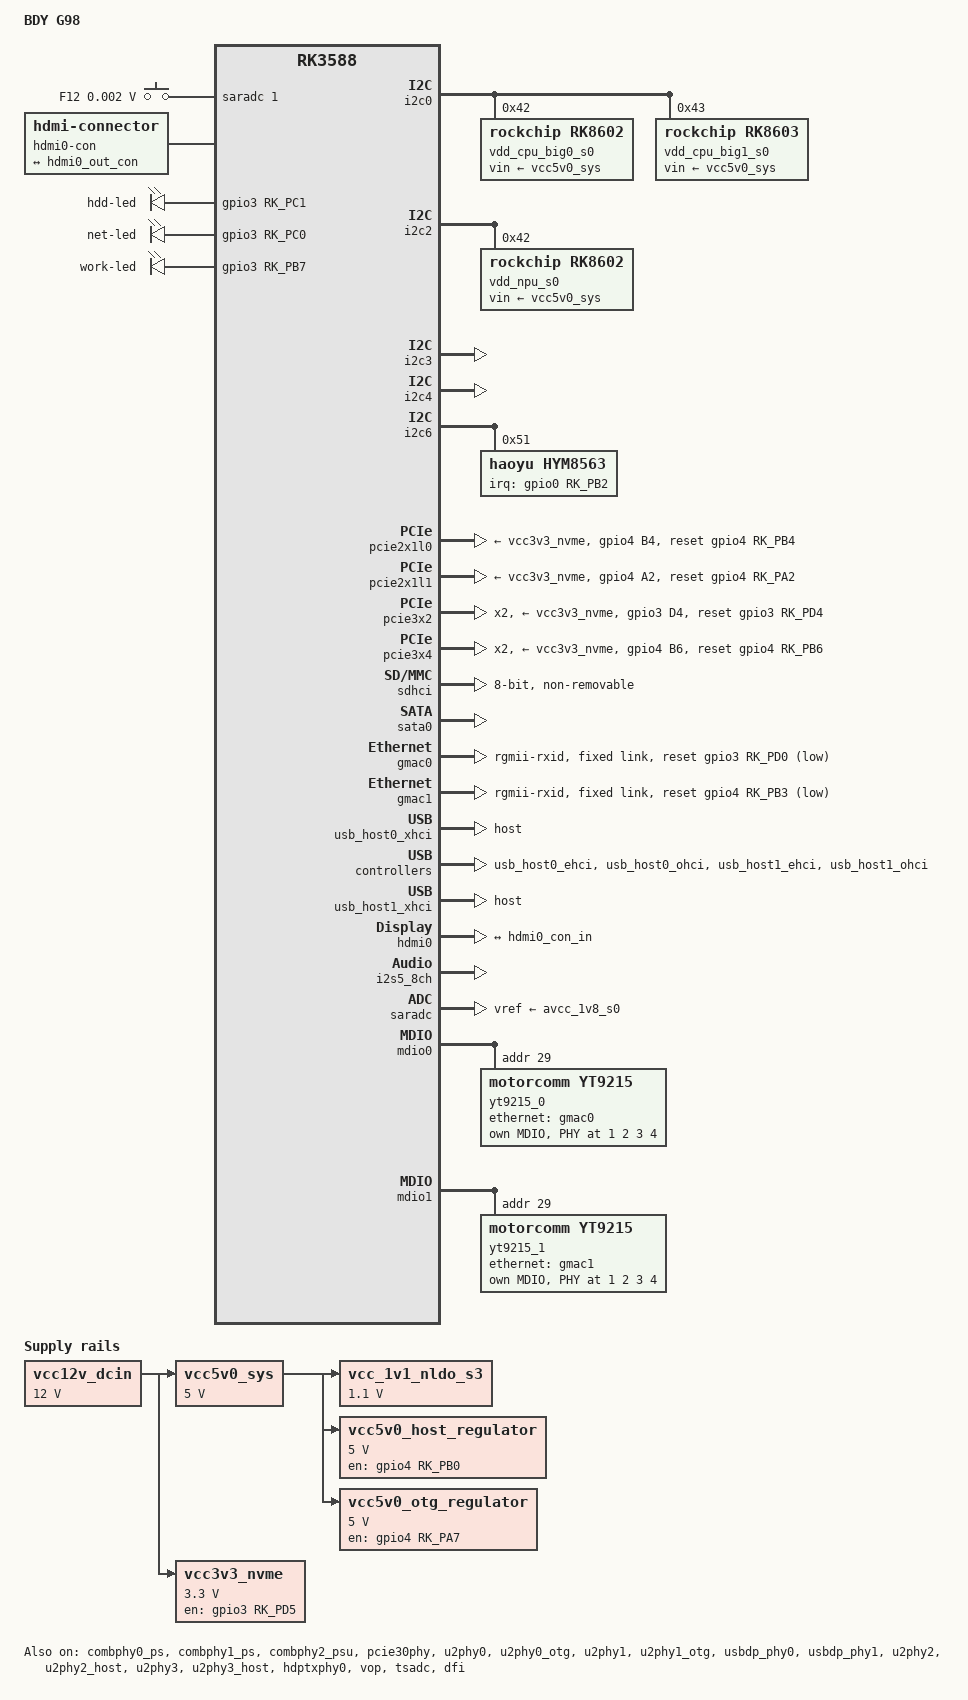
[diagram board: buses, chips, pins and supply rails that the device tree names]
// SPDX-License-Identifier: (GPL-2.0+ OR MIT)

/dts-v1/;

#include <dt-bindings/gpio/gpio.h>
#include <dt-bindings/input/input.h>
#include <dt-bindings/pinctrl/rockchip.h>
#include <dt-bindings/soc/rockchip,vop2.h>
#include "dt-bindings/usb/pd.h"
#include "rk3588.dtsi"
#include "rk3588-rk806-single.dtsi"

/ {
	model = "BDY G98";
	compatible = "bdy,bdy-g98", "rockchip,rk3588";

	aliases {
		mmc0 = &sdmmc;
		mmc1 = &sdio;
		mmc2 = &sdhci;
		ethernet0 = &gmac0;
		ethernet1 = &gmac1;
	};

	chosen {
		stdout-path = "serial2:1500000n8";
	};

	reserved-memory {
		#address-cells = <2>;
		#size-cells = <2>;
		ranges;

		cma {
			compatible = "shared-dma-pool";
			reusable;
			alloc-ranges = <0x1 0x00000000 0x3 0x00000000>;
			size = <0x0 0x20000000>;
			linux,cma-default;
		};
	};

	adc-keys {
		compatible = "adc-keys";
		io-channel-names = "buttons";
		io-channels = <&saradc 1>;
		keyup-threshold-microvolt = <0x1b7740>;
		poll-interval = <0x64>;
		status = "okay";

		recovery-key {
			label = "F12";
			linux,code = <0x58>;
			press-threshold-microvolt = <0x6d6>;
		};
	};

	vcc12v_dcin: vcc12v-dcin {
		compatible = "regulator-fixed";
		regulator-always-on;
		regulator-boot-on;
		regulator-min-microvolt = <12000000>;
		regulator-max-microvolt = <12000000>;
		regulator-name = "vcc12v_dcin";
	};

	vcc5v0_sys: vcc5v0-sys {
		compatible = "regulator-fixed";
		regulator-always-on;
		regulator-boot-on;
		regulator-min-microvolt = <5000000>;
		regulator-max-microvolt = <5000000>;
		regulator-name = "vcc5v0_sys";
		vin-supply = <&vcc12v_dcin>;
	};

	vcc_1v1_nldo_s3: regulator-vcc-1v1-nldo-s3 {
		compatible = "regulator-fixed";
		regulator-name = "vcc_1v1_nldo_s3";
		regulator-always-on;
		regulator-boot-on;
		regulator-min-microvolt = <1100000>;
		regulator-max-microvolt = <1100000>;
		vin-supply = <&vcc5v0_sys>;
	};

	vcc3v3_nvme: vcc3v3-nvme {
		compatible = "regulator-fixed";
		regulator-min-microvolt = <3300000>;
		regulator-max-microvolt = <3300000>;
		regulator-name = "vcc3v3_nvme";
		vin-supply = <&vcc12v_dcin>;
		enable-active-high;
		gpios = <&gpio3 RK_PD5 GPIO_ACTIVE_HIGH>;
		startup-delay-us = <7500>;
		pinctrl-names = "default";
		pinctrl-0 = <&nvme_power_en>;
	};

	vcc5v0_host_regulator: vcc5v0-host-regulator {
		compatible = "regulator-fixed";
		enable-active-high;
		gpio = <&gpio4 RK_PB0 GPIO_ACTIVE_HIGH>;
	    pinctrl-names = "default";
	    pinctrl-0 = <&vcc5v0_host_en>;
		regulator-name = "vcc5v0_host";
		regulator-boot-on;
		regulator-always-on;
		regulator-min-microvolt = <5000000>;
		regulator-max-microvolt = <5000000>;
		vin-supply = <&vcc5v0_sys>;
	};

	vcc5v0_otg_regulator: vcc5v0-otg-regulator {
		compatible = "regulator-fixed";
		enable-active-high;
		gpio = <&gpio4 RK_PA7 GPIO_ACTIVE_HIGH>;
		pinctrl-names = "default";
	    pinctrl-0 = <&vcc5v0_otg_en>;
		regulator-min-microvolt = <5000000>;
		regulator-max-microvolt = <5000000>;
		regulator-name = "vcc5v0_otg";
		vin-supply = <&vcc5v0_sys>;
	};

	hdmi0-con {
		compatible = "hdmi-connector";
		type = "a";

		port {
			hdmi0_con_in: endpoint {
				remote-endpoint = <&hdmi0_out_con>;
			};
		};
	};

	leds {
		compatible = "gpio-leds";
		status = "okay";

		hdd-led {
			default-state = "off";
			gpios = <&gpio3 RK_PC1 GPIO_ACTIVE_HIGH>;
		};

		net-led {
			default-state = "off";
			gpios = <&gpio3 RK_PC0 GPIO_ACTIVE_HIGH>;
		};

		work-led {
			gpios = <&gpio3 RK_PB7 GPIO_ACTIVE_HIGH>;
			linux,default-trigger = "heartbeat";
		};
	};
};

&i2c0 {
	pinctrl-names = "default";
	pinctrl-0 = <&i2c0m2_xfer>;
	status = "okay";

	vdd_cpu_big0_s0: vdd_cpu_big0_mem_s0: regulator@42 {
		compatible = "rockchip,rk8602";
		reg = <0x42>;
		fcs,suspend-voltage-selector = <1>;
		regulator-name = "vdd_cpu_big0_s0";
		regulator-always-on;
		regulator-boot-on;
		regulator-min-microvolt = <550000>;
		regulator-max-microvolt = <1050000>;
		regulator-ramp-delay = <2300>;
		vin-supply = <&vcc5v0_sys>;

		regulator-state-mem {
			regulator-off-in-suspend;
		};
	};

	vdd_cpu_big1_s0: vdd_cpu_big1_mem_s0: regulator@43 {
		compatible = "rockchip,rk8603", "rockchip,rk8602";
		reg = <0x43>;
		fcs,suspend-voltage-selector = <1>;
		regulator-name = "vdd_cpu_big1_s0";
		regulator-always-on;
		regulator-boot-on;
		regulator-min-microvolt = <550000>;
		regulator-max-microvolt = <1050000>;
		regulator-ramp-delay = <2300>;
		vin-supply = <&vcc5v0_sys>;

		regulator-state-mem {
			regulator-off-in-suspend;
		};
	};
};


&i2c1 {
	pinctrl-names = "default";
	pinctrl-0 = <&i2c1m0_xfer>;
	status = "disabled";
};

&i2c2 {
	pinctrl-names = "default";
	pinctrl-0 = <&i2c2m0_xfer>;
	status = "okay";

	vdd_npu_s0: vdd_npu_mem_s0: regulator@42 {
		compatible = "rockchip,rk8602";
		reg = <0x42>;
		fcs,suspend-voltage-selector = <1>;
		regulator-name = "vdd_npu_s0";
		regulator-always-on;
		regulator-boot-on;
		regulator-enable-ramp-delay = <500>;
		regulator-min-microvolt = <550000>;
		regulator-max-microvolt = <950000>;
		regulator-ramp-delay = <2300>;
		vin-supply = <&vcc5v0_sys>;

		regulator-state-mem {
			regulator-off-in-suspend;
		};
	};
};

&i2c3 {
	pinctrl-names = "default";
	pinctrl-0 = <&i2c3m0_xfer>;
	status = "okay";
};

&i2c4 {
	pinctrl-names = "default";
	pinctrl-0 = <&i2c4m3_xfer>;
	status = "okay";
};

&i2c6 {
	pinctrl-names = "default";
	pinctrl-0 = <&i2c6m0_xfer>;
	status = "okay";

	hym8563: rtc@51 {
		compatible = "haoyu,hym8563";
		reg = <0x51>;
		#clock-cells = <0>;
		clock-output-names = "hym8563";
		pinctrl-names = "default";
		pinctrl-0 = <&hym8563_int>;
		interrupt-parent = <&gpio0>;
		interrupts = <RK_PB2 IRQ_TYPE_LEVEL_LOW>;
		wakeup-source;
	};
};


&combphy0_ps {
	pinctrl-0 = <&sata0_pm_reset>;
	pinctrl-names = "default";
	status = "okay";
};

&combphy1_ps {
	status = "okay";
};

&combphy2_psu {
	status = "okay";
};

&pcie30phy {
	data-lanes = <1 1 2 2>;
	status = "okay";
};

&pcie2x1l0 {
	pinctrl-names = "default";
	pinctrl-0 = <&pcie2_0_rst>;
	supports-clkreq;
	reset-gpios = <&gpio4 RK_PB4 GPIO_ACTIVE_HIGH>;
	vpcie3v3-supply = <&vcc3v3_nvme>;
	status = "okay";

	pcie@0,0 {
		reg = <0x00200000 0 0 0 0>;
		#address-cells = <3>;
		#size-cells = <2>;
		bus-range = <0x20 0x2f>;
		device_type = "pci";
		ranges;

		ethernet@0,0 {
			reg = <0x00210000 0 0 0 0>;
			label = "eth2";
			realtek,led-data = <0x200 0x2b 0x0 0x0>;
		};
	};
};

&pcie2x1l1 {
	pinctrl-names = "default";
	pinctrl-0 = <&pcie2_1_rst>;
	supports-clkreq;
	reset-gpios = <&gpio4 RK_PA2 GPIO_ACTIVE_HIGH>;
	vpcie3v3-supply = <&vcc3v3_nvme>;
	status = "okay";

	pcie@0,0 {
		reg = <0x00300000 0 0 0 0>;
		#address-cells = <3>;
		#size-cells = <2>;
		bus-range = <0x30 0x3f>;
		device_type = "pci";
		ranges;

		ethernet@0,0 {
			reg = <0x00310000 0 0 0 0>;
			label = "eth3";
			realtek,led-data = <0x200 0x2b 0x0 0x0>;
		};
	};
};

&pcie2x1l2 {
	status = "disabled";
};

&pcie3x2 {
	pinctrl-names = "default";
	pinctrl-0 = <&pcie3x2_rst>;
	num-lanes = <2>;
	reset-gpios = <&gpio3 RK_PD4 GPIO_ACTIVE_HIGH>;
	vpcie3v3-supply = <&vcc3v3_nvme>;
	status = "okay";
};

&pcie3x4 {
	pinctrl-names = "default";
	pinctrl-0 = <&pcie3x4_rst>;
	num-lanes = <2>;
	reset-gpios = <&gpio4 RK_PB6 GPIO_ACTIVE_HIGH>;
	vpcie3v3-supply = <&vcc3v3_nvme>;
	status = "okay";
};


&pinctrl {
	hym8563 {
		hym8563_int: hym8563-int {
			rockchip,pins = <0 RK_PB2 RK_FUNC_GPIO &pcfg_pull_up>;
		};
	};

	pcie {
		pcie2_0_rst: pcie2-0-rst {
			rockchip,pins = <4 RK_PB4 RK_FUNC_GPIO &pcfg_pull_none>;
		};

		pcie2_1_rst: pcie2-1-rst {
			rockchip,pins = <4 RK_PA2 RK_FUNC_GPIO &pcfg_pull_none>;
		};

		pcie3x2_rst: pcie3x2-rst {
			rockchip,pins = <3 RK_PD4 RK_FUNC_GPIO &pcfg_pull_none>;
		};

		pcie3x4_rst: pcie3x4-rst {
			rockchip,pins = <4 RK_PB6 RK_FUNC_GPIO &pcfg_pull_none>;
		};
	};

	nvme {
		nvme_power_en: nvme-power-en {
			rockchip,pins = <3 RK_PD5 RK_FUNC_GPIO &pcfg_pull_none>;
		};
	};

	usb {
		vcc5v0_host_en: vcc5v0-host-en {
			rockchip,pins = <4 RK_PB0 RK_FUNC_GPIO &pcfg_pull_none>;
		};

		vcc5v0_otg_en: vcc5v0-otg-en {
			rockchip,pins = <4 RK_PA7 RK_FUNC_GPIO &pcfg_pull_none>;
		};
	};

	sata {
		sata0_pm_reset: sata0-pm-reset {
			rockchip,pins = <0 RK_PD5 RK_FUNC_GPIO &pcfg_output_high>;
		};
	};
};


&sdhci {
	/delete-property/ supports-cqe;
	bus-width = <8>;
	no-sdio;
	no-sd;
	supports-emmc;
	non-removable;
	mmc-hs200-1_8v;
	status = "okay";
};

&sdmmc {
	status = "disabled";
};

&sdio {
	/delete-property/ pinctrl-0;
	/delete-property/ pinctrl-names;
	status = "disabled";
};


&sata0 {
	status = "okay";
};


&gmac0 {
	clock_in_out = "output";
	phy-mode = "rgmii-rxid";
	tx_delay = <0x44>;
	pinctrl-0 = <&gmac0_miim &gmac0_tx_bus2 &gmac0_rx_bus2 &gmac0_rgmii_clk &gmac0_rgmii_bus>;
	pinctrl-names = "default";
	snps,reset-active-low;
	snps,reset-delays-us = <0x00 0x4e20 0x186a0>;
	snps,reset-gpio = <&gpio3 RK_PD0 GPIO_ACTIVE_LOW>;
	status = "okay";

	fixed-link {
		speed = <1000>;
		full-duplex;
		pause;
	};
};

&gmac1 {
	clock_in_out = "output";
	phy-mode = "rgmii-rxid";
	tx_delay = <0x42>;
	pinctrl-0 = <&gmac1_miim &gmac1_tx_bus2 &gmac1_rx_bus2 &gmac1_rgmii_clk &gmac1_rgmii_bus>;
	pinctrl-names = "default";
	snps,reset-active-low;
	snps,reset-delays-us = <0x00 0x4e20 0x186a0>;
	snps,reset-gpio = <&gpio4 RK_PB3 GPIO_ACTIVE_LOW>;
	status = "okay";

	fixed-link {
		speed = <1000>;
		full-duplex;
		pause;
	};
};


&uart7 {
	status = "disabled";
};

&u2phy0 {
	status = "okay";
};

&u2phy0_otg {
	phy-supply = <&vcc5v0_otg_regulator>;
	status = "okay";
};

&u2phy1 {
	status = "okay";
};

&u2phy1_otg {
	phy-supply = <&vcc5v0_host_regulator>;
	status = "okay";
};

&usbdp_phy0 {
	rockchip,dp-lane-mux = <2 3>;
	status = "okay";

	u3-port {
		#phy-cells = <0x00>;
		maximum-speed = "super-speed";
		status = "okay";
	};
};

&usbdp_phy1 {
	rockchip,dp-lane-mux = <2 3>;
	status = "okay";

	u3-port {
		#phy-cells = <0x00>;
		maximum-speed = "super-speed";
		status = "okay";
	};
};

&u2phy2 {
	status = "okay";
};

&u2phy2_host{
	phy-supply = <&vcc5v0_host_regulator>;
	status = "okay";
};

&usb_host0_xhci {
	dr_mode = "host";
	status = "okay";
};

&usb_host0_ehci {
	status = "okay";
};

&usb_host0_ohci {
	status = "okay";
};

&u2phy3 {
	status = "okay";
};

&u2phy3_host{
	phy-supply = <&vcc5v0_host_regulator>;
	status = "okay";
};

&usb_host1_xhci {
	dr_mode = "host";
	status = "okay";
};

&usb_host1_ehci {
	status = "okay";
};

&usb_host1_ohci {
	status = "okay";
};

&hdptxphy0 {
	status = "okay";
};

&hdmi0 {
	pinctrl-names = "default";
	pinctrl-0 = <&hdmim0_tx0_cec &hdmim0_tx0_hpd &hdmim0_tx0_scl &hdmim0_tx0_sda>;
	enable-gpios = <&gpio4 RK_PB1 GPIO_ACTIVE_HIGH>;
	status = "okay";
	ports {
		hdmi0_out: port@1 {
			reg = <1>;
		};
	};
};

&hdmi0_out {
	hdmi0_out_con: endpoint {
		remote-endpoint = <&hdmi0_con_in>;
	};
};

&i2s5_8ch {
	status = "okay";
};

&vop_mmu {
	status = "okay";
};

&vop {
	status = "okay";
};


&saradc {
	vref-supply = <&avcc_1v8_s0>;
	status = "okay";
};

&tsadc {
	status = "okay";
};

&dfi {
	status = "okay";
};

&mdio0 {
	status = "okay";

	yt9215_0: switch@1d {
		compatible = "motorcomm,yt9215";
		reg = <0x1d>;
		dsa,member = <1 0>;
		motorcomm,bdy-g98-led-profile;

		mdio {
			#address-cells = <1>;
			#size-cells = <0>;

			sw1phy1: phy@1 { reg = <1>; };
			sw1phy2: phy@2 { reg = <2>; };
			sw1phy3: phy@3 { reg = <3>; };
			sw1phy4: phy@4 { reg = <4>; };
		};

		ethernet-ports {
			#address-cells = <1>;
			#size-cells = <0>;

			ethernet-port@1 {
				reg = <0x01>;
				label = "lan5";
				phy-mode = "internal";
				phy-handle = <&sw1phy1>;
			};

			ethernet-port@2 {
				reg = <0x02>;
				label = "lan6";
				phy-mode = "internal";
				phy-handle = <&sw1phy2>;
			};

			ethernet-port@3 {
				reg = <0x03>;
				label = "lan7";
				phy-mode = "internal";
				phy-handle = <&sw1phy3>;
			};

			ethernet-port@4 {
				reg = <0x04>;
				label = "lan8";
				phy-mode = "internal";
				phy-handle = <&sw1phy4>;
			};

			ethernet-port@9 {
				reg = <0x09>;
				ethernet = <&gmac0>;
				phy-mode = "rgmii-txid";

				fixed-link {
					speed = <1000>;
					full-duplex;
					pause;
				};
			};
		};
	};
};

&mdio1 {
	status = "okay";

	yt9215_1: switch@1d {
		compatible = "motorcomm,yt9215";
		reg = <0x1d>;
		dsa,member = <0 0>;
		motorcomm,bdy-g98-led-profile;

		mdio {
			#address-cells = <1>;
			#size-cells = <0>;

			sw0phy1: phy@1 { reg = <1>; };
			sw0phy2: phy@2 { reg = <2>; };
			sw0phy3: phy@3 { reg = <3>; };
			sw0phy4: phy@4 { reg = <4>; };
		};

		ethernet-ports {
			#address-cells = <0x01>;
			#size-cells = <0x00>;

			ethernet-port@1 {
				reg = <0x01>;
				label = "lan1";
				phy-mode = "internal";
				phy-handle = <&sw0phy1>;
			};

			ethernet-port@2 {
				reg = <0x02>;
				label = "lan2";
				phy-mode = "internal";
				phy-handle = <&sw0phy2>;
			};

			ethernet-port@3 {
				reg = <0x03>;
				label = "lan3";
				phy-mode = "internal";
				phy-handle = <&sw0phy3>;
			};

			ethernet-port@4 {
				reg = <0x04>;
				label = "lan4";
				phy-mode = "internal";
				phy-handle = <&sw0phy4>;
			};

			ethernet-port@9 {
				reg = <0x09>;
				ethernet = <&gmac1>;
				phy-mode = "rgmii-txid";

				fixed-link {
					speed = <1000>;
					full-duplex;
					pause;
				};
			};
		};
  };
};
